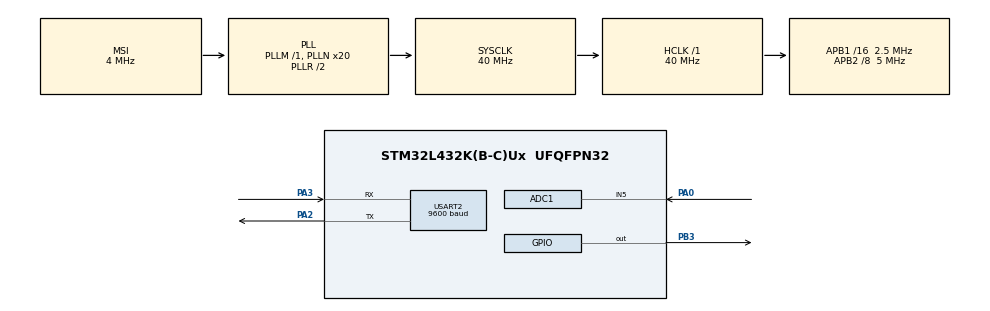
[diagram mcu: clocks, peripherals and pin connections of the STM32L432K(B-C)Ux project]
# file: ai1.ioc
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ADC1.Channel-0\#ChannelRegularConversion=ADC_CHANNEL_5
ADC1.NbrOfConversionFlag=1
ADC1.master=1
Mcu.Family=STM32L4
Mcu.Name=STM32L432K(B-C)Ux
Mcu.Package=UFQFPN32
NVIC.ADC1_IRQn=true\:0\:0\:false\:false\:true\:true\:true
NVIC.PriorityGroup=NVIC_PRIORITYGROUP_4
NVIC.TIM1_BRK_TIM15_IRQn=true\:0\:0\:false\:false\:true\:true\:true
NVIC.USART2_IRQn=true\:0\:0\:false\:false\:true\:true\:true
PA0.Signal=ADCx_IN5
PA13\ (JTMS-SWDIO).Mode=Serial_Wire
PA13\ (JTMS-SWDIO).Signal=SYS_JTMS-SWDIO
PA14\ (JTCK-SWCLK).Mode=Serial_Wire
PA14\ (JTCK-SWCLK).Signal=SYS_JTCK-SWCLK
PA2.Mode=Asynchronous
PA2.Signal=USART2_TX
PA3.Mode=Asynchronous
PA3.Signal=USART2_RX
PB3\ (JTDO-TRACESWO).Signal=GPIO_Output
ProjectManager.HeapSize=0x4000
ProjectManager.StackSize=0x4000
ProjectManager.TargetToolchain=MDK-ARM V5.27
RCC.ADCFreq_Value=32000000
RCC.AHBFreq_Value=40000000
RCC.APB1CLKDivider=RCC_HCLK_DIV16
RCC.APB1Freq_Value=2500000
RCC.APB1TimFreq_Value=5000000
RCC.APB2CLKDivider=RCC_HCLK_DIV8
RCC.APB2Freq_Value=5000000
RCC.APB2TimFreq_Value=10000000
RCC.CortexFreq_Value=40000000
RCC.HCLKFreq_Value=40000000
RCC.HSE_VALUE=8000000
RCC.HSI48_VALUE=48000000
RCC.HSI_VALUE=16000000
RCC.LSE_VALUE=32768
RCC.MSI_VALUE=4000000
RCC.PLLN=20
RCC.PLLSAI1N=16
RCC.SYSCLKFreq_VALUE=40000000
RCC.SYSCLKSource=RCC_SYSCLKSOURCE_PLLCLK
RCC.USBFreq_Value=32000000
RCC.VCOOutputFreq_Value=80000000
SH.ADCx_IN5.0=ADC1_IN5,IN5-Single-Ended
STMicroelectronics.X-CUBE-AI.5.0.0.ActivationBufferSizeList=400
STMicroelectronics.X-CUBE-AI.5.0.0.ApplicationCcArtificialOoIntelligenceJjApplication=ApplicationTemplate
STMicroelectronics.X-CUBE-AI.5.0.0.HeapSize=0x4000
STMicroelectronics.X-CUBE-AI.5.0.0.InternalRamActivationBufferMaxSize=AI_NETWORK_DATA_ACTIVATIONS_SIZE
STMicroelectronics.X-CUBE-AI.5.0.0.LatestDirectoryUsed-900e614369018c1198ceea4ec6b82cbeea6cc429474315437d1866074cb1948e=C\:\\Users\\IEUser\\Desktop
STMicroelectronics.X-CUBE-AI.5.0.0.MaximumNumberOfInputLayer=1
STMicroelectronics.X-CUBE-AI.5.0.0.MaximumNumberOfOutputLayer=1
STMicroelectronics.X-CUBE-AI.5.0.0.MaximumSizeOfInputLayer=748
STMicroelectronics.X-CUBE-AI.5.0.0.MaximumSizeOfOutputLayer=20
STMicroelectronics.X-CUBE-AI.5.0.0.ModelActualCompression-900e614369018c1198ceea4ec6b82cbeea6cc429474315437d1866074cb1948e=0.0
STMicroelectronics.X-CUBE-AI.5.0.0.ModelCompression-900e614369018c1198ceea4ec6b82cbeea6cc429474315437d1866074cb1948e=8
STMicroelectronics.X-CUBE-AI.5.0.0.ModelFlashOccupation-900e614369018c1198ceea4ec6b82cbeea6cc429474315437d1866074cb1948e=6692
STMicroelectronics.X-CUBE-AI.5.0.0.ModelHashList=900e614369018c1198ceea4ec6b82cbeea6cc429474315437d1866074cb1948e
STMicroelectronics.X-CUBE-AI.5.0.0.ModelKind-900e614369018c1198ceea4ec6b82cbeea6cc429474315437d1866074cb1948e=KERAS
STMicroelectronics.X-CUBE-AI.5.0.0.ModelMacc-900e614369018c1198ceea4ec6b82cbeea6cc429474315437d1866074cb1948e=12275
STMicroelectronics.X-CUBE-AI.5.0.0.ModelName-900e614369018c1198ceea4ec6b82cbeea6cc429474315437d1866074cb1948e=network
STMicroelectronics.X-CUBE-AI.5.0.0.ModelNameList=network
STMicroelectronics.X-CUBE-AI.5.0.0.ModelRamOccupation-900e614369018c1198ceea4ec6b82cbeea6cc429474315437d1866074cb1948e=400
STMicroelectronics.X-CUBE-AI.5.0.0.ModelStructureFile-900e614369018c1198ceea4ec6b82cbeea6cc429474315437d1866074cb1948e=C\:\\Users\\IEUser\\Desktop\\my_model.h5
STMicroelectronics.X-CUBE-AI.5.0.0.ModelType-900e614369018c1198ceea4ec6b82cbeea6cc429474315437d1866074cb1948e=Saved model
STMicroelectronics.X-CUBE-AI.5.0.0.NNModelInformation_AchievedCompression-900e614369018c1198ceea4ec6b82cbeea6cc429474315437d1866074cb1948e=0.0
STMicroelectronics.X-CUBE-AI.5.0.0.NNModelInformation_CompressionFactor-900e614369018c1198ceea4ec6b82cbeea6cc429474315437d1866074cb1948e=-0.8629250307251126
STMicroelectronics.X-CUBE-AI.5.0.0.NNModelInformation_EvaluationStatus-900e614369018c1198ceea4ec6b82cbeea6cc429474315437d1866074cb1948e=NOT EVALUATED
STMicroelectronics.X-CUBE-AI.5.0.0.NNModelInformation_HeapSizeNeeded-900e614369018c1198ceea4ec6b82cbeea6cc429474315437d1866074cb1948e=2048
STMicroelectronics.X-CUBE-AI.5.0.0.NNModelInformation_ModelInSizeByName-900e614369018c1198ceea4ec6b82cbeea6cc429474315437d1866074cb1948e={input_0\=748}
STMicroelectronics.X-CUBE-AI.5.0.0.NNModelInformation_ModelMacc-900e614369018c1198ceea4ec6b82cbeea6cc429474315437d1866074cb1948e=12275
STMicroelectronics.X-CUBE-AI.5.0.0.NNModelInformation_ModelName-900e614369018c1198ceea4ec6b82cbeea6cc429474315437d1866074cb1948e=network
STMicroelectronics.X-CUBE-AI.5.0.0.NNModelInformation_ModelOutSizeByName-900e614369018c1198ceea4ec6b82cbeea6cc429474315437d1866074cb1948e={dense_3_nl\=20}
STMicroelectronics.X-CUBE-AI.5.0.0.NNModelInformation_ModelRam-900e614369018c1198ceea4ec6b82cbeea6cc429474315437d1866074cb1948e=400
STMicroelectronics.X-CUBE-AI.5.0.0.NNModelInformation_ModelRom-900e614369018c1198ceea4ec6b82cbeea6cc429474315437d1866074cb1948e=6692
STMicroelectronics.X-CUBE-AI.5.0.0.NNModelInformation_ModelSize-900e614369018c1198ceea4ec6b82cbeea6cc429474315437d1866074cb1948e=48820
STMicroelectronics.X-CUBE-AI.5.0.0.NNModelInformation_NbOfParameters-900e614369018c1198ceea4ec6b82cbeea6cc429474315437d1866074cb1948e=12205
STMicroelectronics.X-CUBE-AI.5.0.0.StackSize=0x4000
STMicroelectronics.X-CUBE-AI.5.0.0.WorkingBufferStartAddrList=0xFFFFFFFF
STMicroelectronics.X-CUBE-AI.5.0.0.XAaCUBEAaAICcArtificialOoIntelligenceJjCore=true
TIM15.Period=8
TIM15.Prescaler=10000
TIM15.TIM_MasterOutputTrigger=TIM_TRGO_UPDATE
USART2.BaudRate=9600
USART2.VirtualMode-Asynchronous=VM_ASYNC
VP_CRC_VS_CRC.Mode=CRC_Activate
VP_STMicroelectronics.X-CUBE-AI_VS_ArtificialOoIntelligenceJjApplication_5.0.0.Mode=ArtificialOoIntelligenceJjApplication
VP_STMicroelectronics.X-CUBE-AI_VS_ArtificialOoIntelligenceJjXAaCUBEAaAI_5.0.0.Mode=ArtificialOoIntelligenceJjXAaCUBEAaAI
VP_TIM15_VS_ClockSourceINT.Mode=Internal
board=custom

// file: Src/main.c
/* USER CODE BEGIN Header */
/**
  ******************************************************************************
  * @file           : main.c
  * @brief          : Main program body
  ******************************************************************************
  * @attention
  *
  * <h2><center>&copy; Copyright (c) 2020 STMicroelectronics.
  * All rights reserved.</center></h2>
  *
  * This software component is licensed by ST under Ultimate Liberty license
  * SLA0044, the "License"; You may not use this file except in compliance with
  * the License. You may obtain a copy of the License at:
  *                             www.st.com/SLA0044
  *
  ******************************************************************************
  */
/* USER CODE END Header */

#include "main.h"
#include "app_x-cube-ai.h"

/* USER CODE BEGIN Includes */
#include <string.h>
#include <stdio.h>
/* USER CODE END Includes */

ADC_HandleTypeDef hadc1;

CRC_HandleTypeDef hcrc;

TIM_HandleTypeDef htim15;

UART_HandleTypeDef huart2;

void SystemClock_Config(void);
static void MX_GPIO_Init(void);
static void MX_ADC1_Init(void);
static void MX_CRC_Init(void);
static void MX_USART2_UART_Init(void);
static void MX_TIM15_Init(void);

/* USER CODE BEGIN 0 */
uint32_t adcRaw;
float adcValue;
const int IN_SIZE = 187;
float ecg[IN_SIZE];
int i = 0;
short ready = 0;
char txData[100];

/*
*			Called whenever the TIM15 raises an interrupt indication that the timer reached the value in the AR register which is 8 to let the ADC do the conversion
*/
void HAL_TIM_PeriodElapsedCallback(TIM_HandleTypeDef *htim)
{
	// Start ADC
	HAL_ADC_Start(&hadc1);

	// Get the converted sample
	if(HAL_ADC_PollForConversion(&hadc1, 1000) == HAL_OK) {
		adcRaw = HAL_ADC_GetValue(&hadc1);

		// Normalization between 0 and 1
		adcValue = adcRaw * 1.0 / 4095;

		// Store the sample in its corresponding index
		ecg[i] = adcValue;
		i++;
	}
	// Stop the ADC
	HAL_ADC_Stop(&hadc1);

	// If R Peak
	if((adcValue>=0.9 && i>100) || (i == IN_SIZE)){
		// PAD remaining with 0s
		for(int j=i; j<IN_SIZE; j++)
			ecg[j] = 0;
		ready = 1;
		i = 0;
	}
	/*
	if(i == IN_SIZE){
		ready = 1;
		i = 0;
	}
	*/
}

/* USER CODE END 0 */

int main(void)
{

  /* MCU Configuration--------------------------------------------------------*/

  /* Reset of all peripherals, Initializes the Flash interface and the Systick. */
  HAL_Init();

  /* Configure the system clock */
  SystemClock_Config();

  /* Initialize all configured peripherals */
  MX_GPIO_Init();
  MX_ADC1_Init();
  MX_CRC_Init();
  MX_USART2_UART_Init();
  MX_TIM15_Init();
  MX_X_CUBE_AI_Init();
  /* USER CODE BEGIN 2 */

	HAL_TIM_Base_Start_IT(&htim15);

  /* USER CODE END 2 */

  /* Infinite loop */
  /* USER CODE BEGIN WHILE */
	int res;
	char heartClass[20] = "";
  while (1)
  {
    /* USER CODE END WHILE */
    /* USER CODE BEGIN 3 */

		if(ready){
			// Predict the patient's class
			res = MX_X_CUBE_AI_Process();
			ready = 0;

			// Convert the prediction to its label and send it using UART
			switch(res){
				case 1:
					sprintf(heartClass, "%s", "Normal");
					break;
				case 2:
					sprintf(heartClass, "%s", "Supraventricular");
					break;
				case 3:
					sprintf(heartClass, "%s", "Ventricular");
					break;
				case 4:
					sprintf(heartClass, "%s", "Fusion");
					break;
				case 5:
					sprintf(heartClass, "%s", "Unknown");
					break;
			}
			sprintf(txData, "%s\r\n", heartClass);
			HAL_UART_Transmit(&huart2, (uint8_t *) txData, strlen(txData), 1000);
		}
  }
  /* USER CODE END 3 */
}

void SystemClock_Config(void)
{
  RCC_OscInitTypeDef RCC_OscInitStruct = {0};
  RCC_ClkInitTypeDef RCC_ClkInitStruct = {0};
  RCC_PeriphCLKInitTypeDef PeriphClkInit = {0};

  /** Initializes the CPU, AHB and APB busses clocks
  */
  RCC_OscInitStruct.OscillatorType = RCC_OSCILLATORTYPE_MSI;
  RCC_OscInitStruct.MSIState = RCC_MSI_ON;
  RCC_OscInitStruct.MSICalibrationValue = 0;
  RCC_OscInitStruct.MSIClockRange = RCC_MSIRANGE_6;
  RCC_OscInitStruct.PLL.PLLState = RCC_PLL_ON;
  RCC_OscInitStruct.PLL.PLLSource = RCC_PLLSOURCE_MSI;
  RCC_OscInitStruct.PLL.PLLM = 1;
  RCC_OscInitStruct.PLL.PLLN = 20;
  RCC_OscInitStruct.PLL.PLLP = RCC_PLLP_DIV7;
  RCC_OscInitStruct.PLL.PLLQ = RCC_PLLQ_DIV2;
  RCC_OscInitStruct.PLL.PLLR = RCC_PLLR_DIV2;
  if (HAL_RCC_OscConfig(&RCC_OscInitStruct) != HAL_OK)
  {
    Error_Handler();
  }
  /** Initializes the CPU, AHB and APB busses clocks
  */
  RCC_ClkInitStruct.ClockType = RCC_CLOCKTYPE_HCLK|RCC_CLOCKTYPE_SYSCLK
                              |RCC_CLOCKTYPE_PCLK1|RCC_CLOCKTYPE_PCLK2;
  RCC_ClkInitStruct.SYSCLKSource = RCC_SYSCLKSOURCE_PLLCLK;
  RCC_ClkInitStruct.AHBCLKDivider = RCC_SYSCLK_DIV1;
  RCC_ClkInitStruct.APB1CLKDivider = RCC_HCLK_DIV16;
  RCC_ClkInitStruct.APB2CLKDivider = RCC_HCLK_DIV8;

  if (HAL_RCC_ClockConfig(&RCC_ClkInitStruct, FLASH_LATENCY_2) != HAL_OK)
  {
    Error_Handler();
  }
  PeriphClkInit.PeriphClockSelection = RCC_PERIPHCLK_USART2|RCC_PERIPHCLK_ADC;
  PeriphClkInit.Usart2ClockSelection = RCC_USART2CLKSOURCE_PCLK1;
  PeriphClkInit.AdcClockSelection = RCC_ADCCLKSOURCE_PLLSAI1;
  PeriphClkInit.PLLSAI1.PLLSAI1Source = RCC_PLLSOURCE_MSI;
  PeriphClkInit.PLLSAI1.PLLSAI1M = 1;
  PeriphClkInit.PLLSAI1.PLLSAI1N = 16;
  PeriphClkInit.PLLSAI1.PLLSAI1P = RCC_PLLP_DIV7;
  PeriphClkInit.PLLSAI1.PLLSAI1Q = RCC_PLLQ_DIV2;
  PeriphClkInit.PLLSAI1.PLLSAI1R = RCC_PLLR_DIV2;
  PeriphClkInit.PLLSAI1.PLLSAI1ClockOut = RCC_PLLSAI1_ADC1CLK;
  if (HAL_RCCEx_PeriphCLKConfig(&PeriphClkInit) != HAL_OK)
  {
    Error_Handler();
  }
  /** Configure the main internal regulator output voltage
  */
  if (HAL_PWREx_ControlVoltageScaling(PWR_REGULATOR_VOLTAGE_SCALE1) != HAL_OK)
  {
    Error_Handler();
  }
}

static void MX_ADC1_Init(void)
{

  ADC_ChannelConfTypeDef sConfig = {0};

  /** Common config
  */
  hadc1.Instance = ADC1;
  hadc1.Init.ClockPrescaler = ADC_CLOCK_ASYNC_DIV1;
  hadc1.Init.Resolution = ADC_RESOLUTION_12B;
  hadc1.Init.DataAlign = ADC_DATAALIGN_RIGHT;
  hadc1.Init.ScanConvMode = ADC_SCAN_DISABLE;
  hadc1.Init.EOCSelection = ADC_EOC_SINGLE_CONV;
  hadc1.Init.LowPowerAutoWait = DISABLE;
  hadc1.Init.ContinuousConvMode = DISABLE;
  hadc1.Init.NbrOfConversion = 1;
  hadc1.Init.DiscontinuousConvMode = DISABLE;
  hadc1.Init.NbrOfDiscConversion = 1;
  hadc1.Init.ExternalTrigConv = ADC_SOFTWARE_START;
  hadc1.Init.ExternalTrigConvEdge = ADC_EXTERNALTRIGCONVEDGE_NONE;
  hadc1.Init.DMAContinuousRequests = DISABLE;
  hadc1.Init.Overrun = ADC_OVR_DATA_PRESERVED;
  hadc1.Init.OversamplingMode = DISABLE;
  if (HAL_ADC_Init(&hadc1) != HAL_OK)
  {
    Error_Handler();
  }
  /** Configure Regular Channel
  */
  sConfig.Channel = ADC_CHANNEL_5;
  sConfig.Rank = ADC_REGULAR_RANK_1;
  sConfig.SamplingTime = ADC_SAMPLETIME_2CYCLES_5;
  sConfig.SingleDiff = ADC_SINGLE_ENDED;
  sConfig.OffsetNumber = ADC_OFFSET_NONE;
  sConfig.Offset = 0;
  if (HAL_ADC_ConfigChannel(&hadc1, &sConfig) != HAL_OK)
  {
    Error_Handler();
  }

}

static void MX_CRC_Init(void)
{

  hcrc.Instance = CRC;
  hcrc.Init.DefaultPolynomialUse = DEFAULT_POLYNOMIAL_ENABLE;
  hcrc.Init.DefaultInitValueUse = DEFAULT_INIT_VALUE_ENABLE;
  hcrc.Init.InputDataInversionMode = CRC_INPUTDATA_INVERSION_NONE;
  hcrc.Init.OutputDataInversionMode = CRC_OUTPUTDATA_INVERSION_DISABLE;
  hcrc.InputDataFormat = CRC_INPUTDATA_FORMAT_BYTES;
  if (HAL_CRC_Init(&hcrc) != HAL_OK)
  {
    Error_Handler();
  }

}

static void MX_TIM15_Init(void)
{

  TIM_ClockConfigTypeDef sClockSourceConfig = {0};
  TIM_MasterConfigTypeDef sMasterConfig = {0};

  htim15.Instance = TIM15;
  htim15.Init.Prescaler = 10000;
  htim15.Init.CounterMode = TIM_COUNTERMODE_UP;
  htim15.Init.Period = 8;
  htim15.Init.ClockDivision = TIM_CLOCKDIVISION_DIV1;
  htim15.Init.RepetitionCounter = 0;
  htim15.Init.AutoReloadPreload = TIM_AUTORELOAD_PRELOAD_DISABLE;
  if (HAL_TIM_Base_Init(&htim15) != HAL_OK)
  {
    Error_Handler();
  }
  sClockSourceConfig.ClockSource = TIM_CLOCKSOURCE_INTERNAL;
  if (HAL_TIM_ConfigClockSource(&htim15, &sClockSourceConfig) != HAL_OK)
  {
    Error_Handler();
  }
  sMasterConfig.MasterOutputTrigger = TIM_TRGO_UPDATE;
  sMasterConfig.MasterSlaveMode = TIM_MASTERSLAVEMODE_DISABLE;
  if (HAL_TIMEx_MasterConfigSynchronization(&htim15, &sMasterConfig) != HAL_OK)
  {
    Error_Handler();
  }

}

static void MX_USART2_UART_Init(void)
{

  huart2.Instance = USART2;
  huart2.Init.BaudRate = 9600;
  huart2.Init.WordLength = UART_WORDLENGTH_8B;
  huart2.Init.StopBits = UART_STOPBITS_1;
  huart2.Init.Parity = UART_PARITY_NONE;
  huart2.Init.Mode = UART_MODE_TX_RX;
  huart2.Init.HwFlowCtl = UART_HWCONTROL_NONE;
  huart2.Init.OverSampling = UART_OVERSAMPLING_16;
  huart2.Init.OneBitSampling = UART_ONE_BIT_SAMPLE_DISABLE;
  huart2.AdvancedInit.AdvFeatureInit = UART_ADVFEATURE_NO_INIT;
  if (HAL_UART_Init(&huart2) != HAL_OK)
  {
    Error_Handler();
  }

}

static void MX_GPIO_Init(void)
{
  GPIO_InitTypeDef GPIO_InitStruct = {0};

  /* GPIO Ports Clock Enable */
  __HAL_RCC_GPIOA_CLK_ENABLE();
  __HAL_RCC_GPIOB_CLK_ENABLE();

  /*Configure GPIO pin Output Level */
  HAL_GPIO_WritePin(GPIOB, GPIO_PIN_3, GPIO_PIN_RESET);

  /*Configure GPIO pin : PB3 */
  GPIO_InitStruct.Pin = GPIO_PIN_3;
  GPIO_InitStruct.Mode = GPIO_MODE_OUTPUT_PP;
  GPIO_InitStruct.Pull = GPIO_NOPULL;
  GPIO_InitStruct.Speed = GPIO_SPEED_FREQ_LOW;
  HAL_GPIO_Init(GPIOB, &GPIO_InitStruct);

}

/* USER CODE BEGIN 4 */
void HAL_ADC_ConvCpltCallback(ADC_HandleTypeDef *hadc)
{
  /* Prevent unused argument(s) compilation warning */
  UNUSED(hadc);

  /* NOTE : This function should not be modified. When the callback is needed,
            function HAL_ADC_ConvCpltCallback must be implemented in the user file.
   */
	/*char txData[100];

	adcRaw = HAL_ADC_GetValue(&hadc1);
	sprintf(txData, "%d \r\n", adcRaw);
  HAL_UART_Transmit(&huart2, (uint8_t *) txData, strlen(txData), 1000);*/
	//HAL_GPIO_TogglePin(GPIOB, GPIO_PIN_3);
}

/* USER CODE END 4 */

void Error_Handler(void)
{
}

/************************ (C) COPYRIGHT STMicroelectronics *****END OF FILE****/
